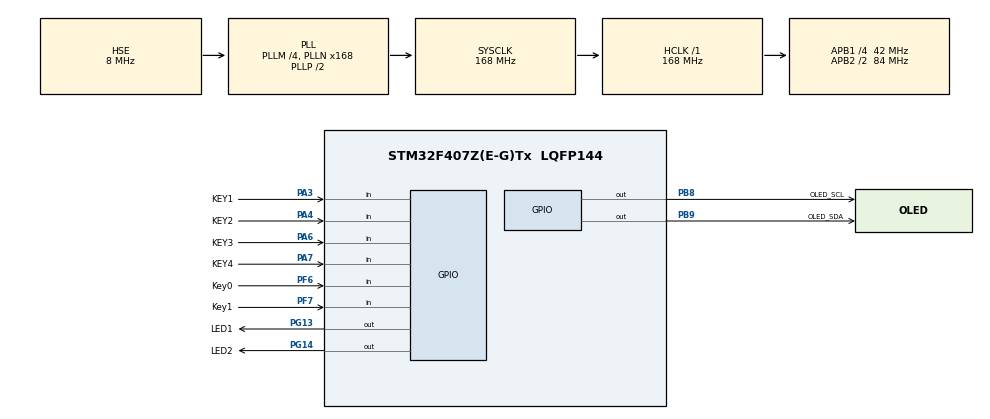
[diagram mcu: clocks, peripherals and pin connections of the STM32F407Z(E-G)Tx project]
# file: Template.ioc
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Mcu.Family=STM32F4
Mcu.Name=STM32F407Z(E-G)Tx
Mcu.Package=LQFP144
NVIC.PriorityGroup=NVIC_PRIORITYGROUP_2
NVIC.TIM3_IRQn=true\:0\:0\:false\:false\:true\:true\:true\:true
PA13.Mode=Serial_Wire
PA13.Signal=SYS_JTMS-SWDIO
PA14.Mode=Serial_Wire
PA14.Signal=SYS_JTCK-SWCLK
PA3.GPIO_Label=KEY1
PA3.GPIO_PuPd=GPIO_PULLUP
PA3.Signal=GPIO_Input
PA4.GPIO_Label=KEY2
PA4.GPIO_PuPd=GPIO_PULLUP
PA4.Signal=GPIO_Input
PA6.GPIO_Label=KEY3
PA6.GPIO_PuPd=GPIO_PULLUP
PA6.Signal=GPIO_Input
PA7.GPIO_Label=KEY4
PA7.GPIO_PuPd=GPIO_PULLUP
PA7.Signal=GPIO_Input
PB8.GPIO_Label=OLED_SCL
PB8.GPIO_ModeDefaultOutputPP=GPIO_MODE_OUTPUT_PP
PB8.GPIO_PuPd=GPIO_NOPULL
PB8.GPIO_Speed=GPIO_SPEED_FREQ_HIGH
PB8.Signal=GPIO_Output
PB9.GPIO_Label=OLED_SDA
PB9.GPIO_ModeDefaultOutputPP=GPIO_MODE_OUTPUT_PP
PB9.GPIO_PuPd=GPIO_NOPULL
PB9.GPIO_Speed=GPIO_SPEED_FREQ_HIGH
PB9.Signal=GPIO_Output
PC14-OSC32_IN.Mode=LSE-External-Oscillator
PC14-OSC32_IN.Signal=RCC_OSC32_IN
PC15-OSC32_OUT.Mode=LSE-External-Oscillator
PC15-OSC32_OUT.Signal=RCC_OSC32_OUT
PF6.GPIO_Label=Key0
PF6.GPIO_PuPd=GPIO_PULLUP
PF6.Signal=GPIO_Input
PF7.GPIO_Label=Key1
PF7.GPIO_PuPd=GPIO_PULLUP
PF7.Signal=GPIO_Input
PG13.GPIO_Label=LED1
PG13.PinState=GPIO_PIN_SET
PG13.Signal=GPIO_Output
PG14.GPIO_Label=LED2
PG14.PinState=GPIO_PIN_SET
PG14.Signal=GPIO_Output
PH0-OSC_IN.Mode=HSE-External-Oscillator
PH0-OSC_IN.Signal=RCC_OSC_IN
PH1-OSC_OUT.Mode=HSE-External-Oscillator
PH1-OSC_OUT.Signal=RCC_OSC_OUT
ProjectManager.HeapSize=0x200
ProjectManager.StackSize=0x400
ProjectManager.TargetToolchain=MDK-ARM V5.32
RCC.48MHZClocksFreq_Value=84000000
RCC.AHBFreq_Value=168000000
RCC.APB1CLKDivider=RCC_HCLK_DIV4
RCC.APB1Freq_Value=42000000
RCC.APB1TimFreq_Value=84000000
RCC.APB2CLKDivider=RCC_HCLK_DIV2
RCC.APB2Freq_Value=84000000
RCC.APB2TimFreq_Value=168000000
RCC.CortexFreq_Value=168000000
RCC.HCLKFreq_Value=168000000
RCC.HSE_VALUE=8000000
RCC.HSI_VALUE=16000000
RCC.PLLM=4
RCC.PLLN=168
RCC.PLLSourceVirtual=RCC_PLLSOURCE_HSE
RCC.SYSCLKFreq_VALUE=168000000
RCC.SYSCLKSource=RCC_SYSCLKSOURCE_PLLCLK
RCC.VCOOutputFreq_Value=336000000
TIM3.AutoReloadPreload=TIM_AUTORELOAD_PRELOAD_ENABLE
TIM3.Period=10000-1
TIM3.Prescaler=8400-1
VP_TIM3_VS_ClockSourceINT.Mode=Internal
board=custom

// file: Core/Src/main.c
/* USER CODE BEGIN Header */
/**
  ******************************************************************************
  * @file           : main.c
  * @brief          : Main program body
  ******************************************************************************
  * @attention
  *
  * Copyright (c) 2025 STMicroelectronics.
  * All rights reserved.
  *
  * This software is licensed under terms that can be found in the LICENSE file
  * in the root directory of this software component.
  * If no LICENSE file comes with this software, it is provided AS-IS.
  *
  ******************************************************************************
  */
/* USER CODE END Header */
#include "main.h"
#include "tim.h"
#include "gpio.h"

void SystemClock_Config(void);

/* USER CODE BEGIN 0 */

// ********************  库导入  ********************
#include "core_cm4.h"
#include "OLED.h"
#include "Key.h"

// ******************** 全局变量 ********************

// ******************** 实验区域 ********************
// 全局可调用参数用来测试代码
int check_1 ;
int check_2 ;

/* USER CODE END 0 */

int main(void)
{

  /* MCU Configuration--------------------------------------------------------*/

  /* Reset of all peripherals, Initializes the Flash interface and the Systick. */
  HAL_Init();

  /* Configure the system clock */
  SystemClock_Config();

  /* Initialize all configured peripherals */
  MX_GPIO_Init();
  MX_TIM3_Init();
  /* USER CODE BEGIN 2 */

	// ********************  setup初始化  ********************
	// Systick初始化
	HAL_SYSTICK_Config(SystemCoreClock / 1000); // 1ms定时周期
	// OLED初始化
	OLED_Init() ;
	OLED_ShowString(0,0,"2025",OLED_8X16) ;

	// ********************  setup实验区域  ********************

  /* USER CODE END 2 */

  /* Infinite loop */
  while (1)
  {

    /* USER CODE BEGIN 3 */
		// ********************  while循环  ********************
		if (Key_Check(KEY_1 , KEY_SINGLE))
		{
			HAL_GPIO_TogglePin(LED2_GPIO_Port , LED2_Pin) ;
		}

		// ********************  while实验区域  ********************

		// OLED刷新(必要,放在最后)
		OLED_Update() ;
  }
  /* USER CODE END 3 */
}

void SystemClock_Config(void)
{
  RCC_OscInitTypeDef RCC_OscInitStruct = {0};
  RCC_ClkInitTypeDef RCC_ClkInitStruct = {0};

  /** Configure the main internal regulator output voltage
  */
  __HAL_RCC_PWR_CLK_ENABLE();
  __HAL_PWR_VOLTAGESCALING_CONFIG(PWR_REGULATOR_VOLTAGE_SCALE1);

  /** Initializes the RCC Oscillators according to the specified parameters
  * in the RCC_OscInitTypeDef structure.
  */
  RCC_OscInitStruct.OscillatorType = RCC_OSCILLATORTYPE_HSE;
  RCC_OscInitStruct.HSEState = RCC_HSE_ON;
  RCC_OscInitStruct.PLL.PLLState = RCC_PLL_ON;
  RCC_OscInitStruct.PLL.PLLSource = RCC_PLLSOURCE_HSE;
  RCC_OscInitStruct.PLL.PLLM = 4;
  RCC_OscInitStruct.PLL.PLLN = 168;
  RCC_OscInitStruct.PLL.PLLP = RCC_PLLP_DIV2;
  RCC_OscInitStruct.PLL.PLLQ = 4;
  if (HAL_RCC_OscConfig(&RCC_OscInitStruct) != HAL_OK)
  {
    Error_Handler();
  }

  /** Initializes the CPU, AHB and APB buses clocks
  */
  RCC_ClkInitStruct.ClockType = RCC_CLOCKTYPE_HCLK|RCC_CLOCKTYPE_SYSCLK
                              |RCC_CLOCKTYPE_PCLK1|RCC_CLOCKTYPE_PCLK2;
  RCC_ClkInitStruct.SYSCLKSource = RCC_SYSCLKSOURCE_PLLCLK;
  RCC_ClkInitStruct.AHBCLKDivider = RCC_SYSCLK_DIV1;
  RCC_ClkInitStruct.APB1CLKDivider = RCC_HCLK_DIV4;
  RCC_ClkInitStruct.APB2CLKDivider = RCC_HCLK_DIV2;

  if (HAL_RCC_ClockConfig(&RCC_ClkInitStruct, FLASH_LATENCY_5) != HAL_OK)
  {
    Error_Handler();
  }
}

/* USER CODE BEGIN 4 */
// ********************  相关函数  ********************

// 系统滴答定时器中断回调函数（每1ms调用一次）
void HAL_SYSTICK_Callback(void)
{
	// 启动自分频
	static int ms_count = 0 ;
	ms_count ++ ;

	// 功能1:
	if (ms_count % 1000 == 0)
	{
		HAL_GPIO_TogglePin(LED2_GPIO_Port , LED2_Pin) ;
	}

	// 功能2: 按键检测
	Key_Tick() ;

	// 功能3:

	// 防止数据溢出,每10s清零一次,这么写以及各个功能的%是为了防止忘记清零所以不如直接统一清零
	if (ms_count == 1000 * 10)
	{
		ms_count = 0 ;
	}
}

/* USER CODE END 4 */

void Error_Handler(void)
{
  __disable_irq();
  while (1)
  {
  }
}
